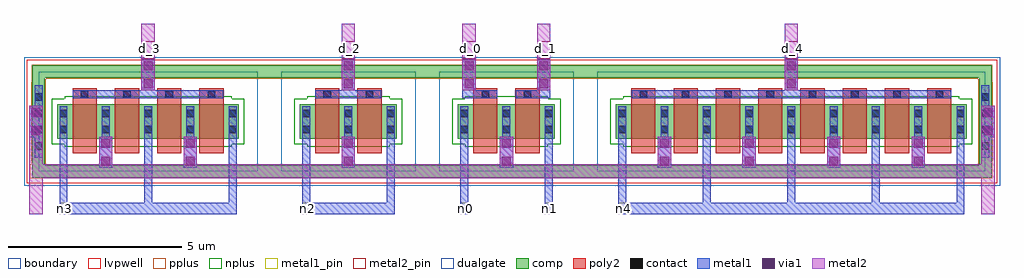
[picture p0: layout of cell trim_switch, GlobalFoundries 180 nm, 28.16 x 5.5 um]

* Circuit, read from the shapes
.subckt trim_switch d_0 d_1 d_2 d_3 d_4 n0 n1 n2 n3 n4
XM1 XM0_trims_4/S d_3 n3 XM0_trims_4/S nfet_06v0 w=1u l=0.7u m=4
XM2 XM0_trims_4/S d_2 n2 XM0_trims_4/S nfet_06v0 w=1u l=0.7u m=2
XM3 XM0_trims_4/S d_0 n0 XM0_trims_4/S nfet_06v0 w=1u l=0.7u
XM4 n1 d_1 XM0_trims_4/S XM0_trims_4/S nfet_06v0 w=1u l=0.7u
XM5 XM0_trims_4/S d_4 n4 XM0_trims_4/S nfet_06v0 w=1u l=0.7u m=8
.ends

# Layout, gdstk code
import gdstk
lib = gdstk.Library(unit=1e-6, precision=1e-09)
def R(c, l, rs):  # rectangles x0, y0, x1, y1
    for r in rs: c.add(gdstk.rectangle(r[:2], r[2:], *l))
def A(c, l, x, y, w, h, nx, ny, dx, dy):  # array of equal rectangles
    R(c, l, [(x+i*dx, y+j*dy, x+i*dx+w, y+j*dy+h) for i in range(nx) for j in range(ny)])
boundary = (0, 0)
comp = (22, 0)
poly2 = (30, 0)
pplus = (31, 0)
nplus = (32, 0)
contact = (33, 0)
metal1 = (34, 0)
metal1_pin = (34, 10)
via1 = (35, 0)
metal2 = (36, 0)
metal2_pin = (36, 10)
dualgate = (55, 0)
lvpwell = (204, 0)

xm1_trims = lib.new_cell('XM1_trims')
R(xm1_trims, boundary, [(-26.33,-1.44,-23.67,1.44)])
R(xm1_trims, comp, [(-26.51,-1.62,-23.33,-1.26), (-25.79,-0.5,-24.21,0.5), (-26.51,1.26,-23.33,1.62)])
R(xm1_trims, poly2, [(-25.35,-0.915,-24.65,0.96)])
R(xm1_trims, pplus, [(-26.53,-1.64,-23.31,-1.24), (-26.53,1.24,-23.31,1.64)])
R(xm1_trims, nplus, [(-25.61,-0.73,-24.42,-0.66), (-25.95,-0.66,-24.05,0.66), (-25.61,0.66,-24.42,0.73)])
R(xm1_trims, contact, [(-25.72,-0.345,-25.5,-0.125), (-24.5,-0.345,-24.28,-0.125), (-25.72,0.125,-25.5,0.345), (-24.5,0.125,-24.28,0.345), (-25.11,0.67,-24.89,0.89)])
R(xm1_trims, metal1, [(-25.725,-0.435,-25.495,0.435), (-24.505,-0.435,-24.275,0.435), (-25.34,0.665,-24.66,0.895)])
R(xm1_trims, dualgate, [(-26.75,-1.86,-23.25,1.86)])
R(xm1_trims, lvpwell, [(-26.67,-1.78,-23.33,1.78)])
xm1_trims.add(gdstk.Label('S', (-25.6,0), layer=34, texttype=0))
xm1_trims.add(gdstk.Label('D', (-24.4,0), layer=34, texttype=0))
xm1_trims.add(gdstk.Label('G', (-25,0), layer=30, texttype=10))

xm2_trims = lib.new_cell('XM2_trims')
R(xm2_trims, boundary, [(-21.94,-1.44,-18.06,1.44)])
R(xm2_trims, comp, [(-22.28,-1.62,-17.72,-1.26), (-21.4,-0.5,-18.6,0.5), (-22.28,1.26,-17.72,1.62)])
R(xm2_trims, poly2, [(-20.96,-0.915,-20.26,0.96), (-19.74,-0.915,-19.04,0.96)])
R(xm2_trims, pplus, [(-22.3,-1.64,-17.7,-1.24), (-22.3,1.24,-17.7,1.64)])
R(xm2_trims, nplus, [(-21.19,-0.73,-18.81,-0.66), (-21.56,-0.66,-18.44,0.66), (-21.19,0.66,-18.81,0.73)])
A(xm2_trims, contact, -21.33, -0.345, 0.22, 0.22, 3, 2, 1.22, 0.47)
R(xm2_trims, contact, [(-20.72,0.67,-20.5,0.89), (-19.5,0.67,-19.28,0.89)])
A(xm2_trims, metal1, -21.335, -0.435, 0.23, 0.87, 3, 1, 1.22, 0)
R(xm2_trims, metal1, [(-20.95,0.665,-20.27,0.895), (-19.73,0.665,-19.05,0.895)])
R(xm2_trims, dualgate, [(-22.36,-1.86,-17.64,1.86)])
R(xm2_trims, lvpwell, [(-22.28,-1.78,-17.72,1.78)])

xm3_trims = lib.new_cell('XM3_trims')
R(xm3_trims, boundary, [(-13.16,-1.44,-6.84,1.44)])
R(xm3_trims, comp, [(-13.34,-1.62,-6.5,-1.26), (-13.34,-1.26,-12.98,1.26), (-12.62,-0.5,-7.38,0.5), (-13.34,1.26,-6.5,1.62)])
A(xm3_trims, poly2, -12.18, -0.915, 0.7, 1.875, 4, 1, 1.22, 0)
R(xm3_trims, pplus, [(-13.415,-1.64,-6.425,-1.24), (-13.36,-1.24,-12.95,-1.135), (-13.37,-1.135,-12.95,1.135), (-13.36,1.135,-12.95,1.24), (-13.36,1.24,-6.48,1.64)])
R(xm3_trims, nplus, [(-12.41,-0.73,-7.59,-0.66), (-12.78,-0.66,-7.22,0.66), (-12.41,0.66,-7.59,0.73)])
A(xm3_trims, contact, -13.27, -0.815, 0.22, 0.22, 1, 4, 0, 0.47)
A(xm3_trims, contact, -12.55, -0.345, 0.22, 0.22, 5, 2, 1.22, 0.47)
A(xm3_trims, contact, -11.94, 0.67, 0.22, 0.22, 4, 1, 1.22, 0)
A(xm3_trims, metal1, -12.555, -0.435, 0.23, 0.87, 5, 1, 1.22, 0)
A(xm3_trims, metal1, -12.17, 0.665, 0.68, 0.23, 4, 1, 1.22, 0)
R(xm3_trims, metal1, [(-13.275,-1.04,-13.045,1.04)])
R(xm3_trims, dualgate, [(-13.58,-1.86,-6.42,1.86)])
R(xm3_trims, lvpwell, [(-13.5,-1.78,-6.5,1.78)])

xm4_trims = lib.new_cell('XM4_trims')
R(xm4_trims, boundary, [(-5.6,-1.44,5.6,1.44)])
R(xm4_trims, comp, [(-5.94,-1.62,5.78,-1.26), (5.42,-1.26,5.78,1.26), (-5.06,-0.5,5.06,0.5), (-5.94,1.26,5.78,1.62)])
A(xm4_trims, poly2, -4.62, -0.915, 0.7, 1.875, 8, 1, 1.22, 0)
R(xm4_trims, pplus, [(-5.96,-1.64,5.8,-1.24), (5.39,-1.24,5.8,-1.135), (5.39,-1.135,5.81,1.135), (5.39,1.135,5.8,1.24), (-5.96,1.24,5.8,1.64)])
R(xm4_trims, nplus, [(-4.85,-0.73,4.85,-0.66), (-5.22,-0.66,5.22,0.66), (-4.85,0.66,4.85,0.73)])
A(xm4_trims, contact, 5.49, -0.815, 0.22, 0.22, 1, 4, 0, 0.47)
A(xm4_trims, contact, -4.99, -0.345, 0.22, 0.22, 9, 2, 1.22, 0.47)
A(xm4_trims, contact, -4.38, 0.67, 0.22, 0.22, 8, 1, 1.22, 0)
A(xm4_trims, metal1, -4.995, -0.435, 0.23, 0.87, 9, 1, 1.22, 0)
A(xm4_trims, metal1, -4.61, 0.665, 0.68, 0.23, 8, 1, 1.22, 0)
R(xm4_trims, metal1, [(5.485,-1.04,5.715,1.04)])
R(xm4_trims, dualgate, [(-6.02,-1.86,6.02,1.86)])
R(xm4_trims, lvpwell, [(-5.94,-1.78,5.94,1.78)])

xm0_trims = lib.new_cell('XM0_trims')
R(xm0_trims, boundary, [(-26.33,-1.44,-23.67,1.44)])
R(xm0_trims, comp, [(-26.67,-1.62,-23.49,-1.26), (-25.79,-0.5,-24.21,0.5), (-26.67,1.26,-23.49,1.62)])
R(xm0_trims, poly2, [(-25.35,-0.915,-24.65,0.96)])
R(xm0_trims, pplus, [(-26.69,-1.64,-23.47,-1.24), (-26.69,1.24,-23.47,1.64)])
R(xm0_trims, nplus, [(-25.58,-0.73,-24.39,-0.66), (-25.95,-0.66,-24.05,0.66), (-25.58,0.66,-24.39,0.73)])
R(xm0_trims, contact, [(-25.72,-0.345,-25.5,-0.125), (-24.5,-0.345,-24.28,-0.125), (-25.72,0.125,-25.5,0.345), (-24.5,0.125,-24.28,0.345), (-25.11,0.67,-24.89,0.89)])
R(xm0_trims, metal1, [(-25.725,-0.435,-25.495,0.435), (-24.505,-0.435,-24.275,0.435), (-25.34,0.665,-24.66,0.895)])
R(xm0_trims, dualgate, [(-26.75,-1.86,-23.25,1.86)])
R(xm0_trims, lvpwell, [(-26.67,-1.78,-23.33,1.78)])
xm0_trims.add(gdstk.Label('S', (-24.4,0), layer=34, texttype=0))
xm0_trims.add(gdstk.Label('D', (-25.6,0), layer=34, texttype=0))
xm0_trims.add(gdstk.Label('G', (-25,0), layer=30, texttype=10))

trim_switch = lib.new_cell('trim_switch')
A(trim_switch, metal1, -15.23, -5, 0.23, 3.115, 3, 1, 2.44, 0)
A(trim_switch, metal1, 0.89, -5, 0.23, 3.115, 5, 1, 2.44, 0)
A(trim_switch, metal1, -11.645, -3.655, 0.38, 0.9, 4, 1, 4.56, 0)
A(trim_switch, metal1, 4.475, -3.655, 0.38, 0.9, 3, 1, 2.44, 0)
R(trim_switch, metal1, [(-15.23,-5,-10.12,-4.67), (-8.23,-5,-5.56,-4.67), (-8.23,-5,-8,-1.885), (-5.79,-5,-5.56,-1.885), (-3.67,-5,-3.44,-1.885), (-1.23,-5,-1,-1.885), (0.89,-5,10.88,-4.67), (-14.085,-3.655,-13.705,-2.755), (-16.1,-2.77,-15.72,-1.87), (11.37,-2.77,11.75,-1.87), (-14.845,-1.655,-10.505,-1.425), (-7.845,-1.655,-5.945,-1.425), (-3.605,-1.655,-2.605,-1.425), (-2.065,-1.655,-1.065,-1.425), (1.275,-1.655,10.495,-1.425), (-12.865,-1.425,-12.485,-0.525), (-7.085,-1.425,-6.705,-0.525), (-3.605,-1.425,-3.225,-0.525), (-1.445,-1.425,-1.065,-0.525), (5.695,-1.425,6.075,-0.525)])
R(trim_switch, metal1_pin, [(-15.23,-5,-15,-4.67), (-8.23,-5,-8,-4.67), (-3.67,-5,-3.44,-4.67), (-1.23,-5,-1,-4.67), (0.89,-5,1.12,-4.67)])
A(trim_switch, via1, -11.585, -3.595, 0.26, 0.26, 4, 2, 4.56, 0.52)
A(trim_switch, via1, 4.535, -3.595, 0.26, 0.26, 3, 2, 2.44, 0.52)
R(trim_switch, via1, [(-14.025,-3.595,-13.765,-3.335), (-14.025,-3.075,-13.765,-2.815), (-16.04,-2.71,-15.78,-2.45), (11.43,-2.71,11.69,-2.45), (-16.04,-2.19,-15.78,-1.93), (11.43,-2.19,11.69,-1.93), (-12.805,-1.365,-12.545,-1.105), (-7.025,-1.365,-6.765,-1.105), (-3.545,-1.365,-3.285,-1.105), (-1.385,-1.365,-1.125,-1.105), (5.755,-1.365,6.015,-1.105), (-12.805,-0.845,-12.545,-0.585), (-7.025,-0.845,-6.765,-0.585), (-3.545,-0.845,-3.285,-0.585), (-1.385,-0.845,-1.125,-0.585), (5.755,-0.845,6.015,-0.585)])
A(trim_switch, metal2, -11.645, -3.655, 0.38, 0.9, 4, 1, 4.56, 0)
A(trim_switch, metal2, 4.475, -3.655, 0.38, 0.9, 3, 1, 2.44, 0)
R(trim_switch, metal2, [(-16.1,-5,-15.72,-1.87), (11.37,-5,11.75,-1.87), (-16.1,-3.96,-15.72,-1.87), (-16.1,-3.96,11.75,-3.56), (11.37,-3.96,11.75,-1.87), (-14.085,-3.655,-13.705,-2.755), (-16.1,-2.77,-15.72,-1.87), (11.37,-2.77,11.75,-1.87), (-12.865,-1.425,-12.485,0.505), (-12.865,-1.425,-12.485,-0.525), (-7.085,-1.425,-6.705,0.505), (-7.085,-1.425,-6.705,-0.525), (-3.605,-1.425,-3.225,0.505), (-3.605,-1.425,-3.225,-0.525), (-1.445,-1.425,-1.065,0.505), (-1.445,-1.425,-1.065,-0.525), (5.695,-1.425,6.075,0.505), (5.695,-1.425,6.075,-0.525)])
R(trim_switch, metal2_pin, [(-12.865,-0.505,-12.485,-0.005), (-7.085,-0.505,-6.705,-0.005), (-3.605,-0.505,-3.225,-0.005), (-1.445,-0.505,-1.065,-0.005), (5.695,-0.505,6.075,-0.005)])
trim_switch.add(gdstk.Reference(xm1_trims, (23.275,-2.32)))
trim_switch.add(gdstk.Reference(xm2_trims, (13.105,-2.32)))
trim_switch.add(gdstk.Reference(xm3_trims, (-2.675,-2.32)))
trim_switch.add(gdstk.Reference(xm4_trims, (5.885,-2.32)))
trim_switch.add(gdstk.Reference(xm0_trims, (22.055,-2.32)))
trim_switch.add(gdstk.Label('d_0', (-3.38,-0.205), layer=36, texttype=10))
trim_switch.add(gdstk.Label('d_4', (5.92,-0.205), layer=36, texttype=10))
trim_switch.add(gdstk.Label('d_1', (-1.22,-0.205), layer=36, texttype=10))
trim_switch.add(gdstk.Label('d_2', (-6.86,-0.205), layer=36, texttype=10))
trim_switch.add(gdstk.Label('d_3', (-12.64,-0.205), layer=36, texttype=10))
trim_switch.add(gdstk.Label('n1', (-1.08,-4.84), layer=34, texttype=10))
trim_switch.add(gdstk.Label('n4', (1.04,-4.84), layer=34, texttype=10))
trim_switch.add(gdstk.Label('n0', (-3.52,-4.84), layer=34, texttype=10))
trim_switch.add(gdstk.Label('n2', (-8.08,-4.84), layer=34, texttype=10))
trim_switch.add(gdstk.Label('n3', (-15.08,-4.84), layer=34, texttype=10))

lib.write_gds('trim_switch.gds')
